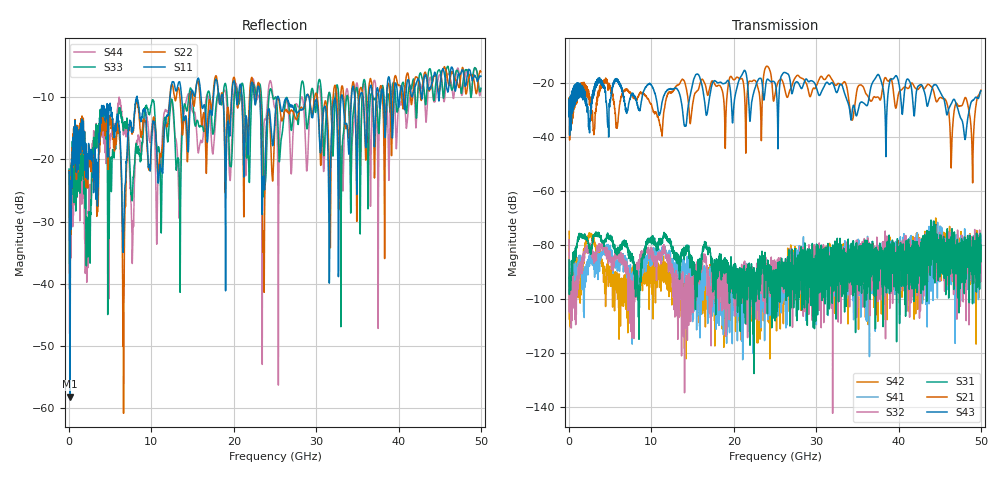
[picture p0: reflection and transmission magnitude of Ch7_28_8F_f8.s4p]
!Agilent Technologies,N5247A,US51170199,A.09.90.13
!Agilent N5247A: A.09.90.13
!Date: Wednesday, December 09, 2015 09:26:47
!Correction: S11(Full 4 Port(1,2,3,4))
!S12(Full 4 Port(1,2,3,4))
!S13(Full 4 Port(1,2,3,4))
!S14(Full 4 Port(1,2,3,4))
!S21(Full 4 Port(1,2,3,4))
!S22(Full 4 Port(1,2,3,4))
!S23(Full 4 Port(1,2,3,4))
!S24(Full 4 Port(1,2,3,4))
!S31(Full 4 Port(1,2,3,4))
!S32(Full 4 Port(1,2,3,4))
!S33(Full 4 Port(1,2,3,4))
!S34(Full 4 Port(1,2,3,4))
!S41(Full 4 Port(1,2,3,4))
!S42(Full 4 Port(1,2,3,4))
!S43(Full 4 Port(1,2,3,4))
!S44(Full 4 Port(1,2,3,4))
!S4P File: Measurements: <S11,S12,S13,S14>,
!<S21,S22,S23,S24>,
!<S31,S32,S33,S34>,
!<S41,S42,S43,S44>:
# Hz S  dB  R 50
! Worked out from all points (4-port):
!   3201 points, 10 MHz to 50 GHz, reference 50 ohm
!   strongest paths, dB at 10 MHz, 12.51 GHz, 25 GHz, 37.5 GHz, 50 GHz:
!     S43: -32.6, -22.5, -20.2, -17.0, -23.0
!     S21: -32.5, -23.5, -24.6, -25.3, -22.8
!     S31: -85.6, -80.7, -92.3, -96.3, -80.1
!     S32: -78.1, -88.0, -87.6, -101.0, -79.4
!     S41: -89.2, -88.7, -93.8, -91.0, -87.0
!     S42: -75.0, -93.8, -93.2, -87.4, -86.5
!   lowest |S11| = -58.1 dB at 135 MHz (marker M1), VSWR 1.00, Z = 50 + j0.12 ohm
!   |S11| at or under -10 dB: start of sweep to 8.234 GHz; 8.272 GHz to 12.25 GHz (3.983 GHz wide, 38.8 % of centre); 29.13 GHz to 33.03 GHz (3.901 GHz wide, 12.6 % of centre)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
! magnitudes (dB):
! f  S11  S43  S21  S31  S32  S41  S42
! 10 MHz  -22.0  -32.6  -32.5  -85.6  -78.1  -89.2  -75.0
! 135 MHz  -58.1  -35.1  -32.8  -92.6  -96.1  -96.2  -103.1
! 24.05 GHz  -13.1  -18.8  -14.0  -90.8  -87.0  -98.3  -101.4
! 34.36 GHz  -8.9  -31.0  -33.9  -94.9  -84.8  -86.8  -87.9
! 43.72 GHz  -8.8  -26.3  -20.8  -86.7  -79.1  -73.2  -78.8
! 48.97 GHz  -7.4  -26.6  -52.5  -81.6  -76.9  -82.4  -80.0
! 50 GHz  -6.6  -23.0  -22.8  -80.1  -79.4  -87.0  -86.5
